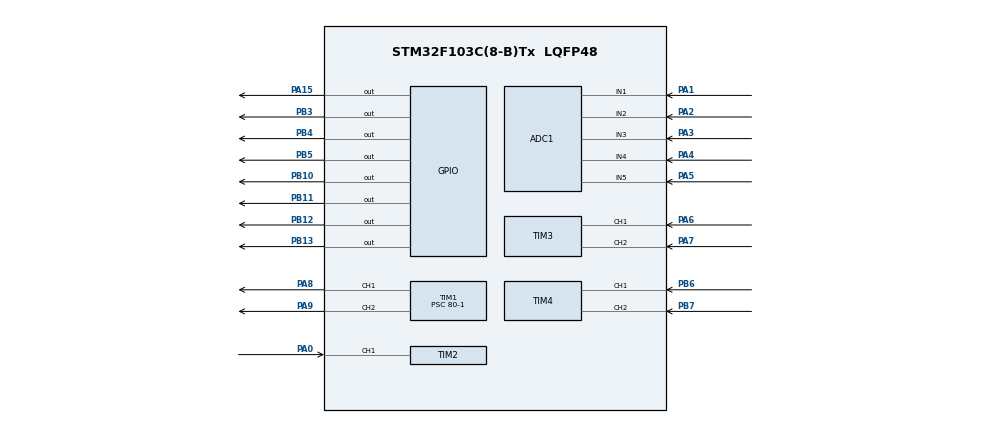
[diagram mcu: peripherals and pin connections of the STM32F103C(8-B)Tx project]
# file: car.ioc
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ADC1.Channel-0\#ChannelRegularConversion=ADC_CHANNEL_1
ADC1.Channel-1\#ChannelRegularConversion=ADC_CHANNEL_2
ADC1.Channel-2\#ChannelRegularConversion=ADC_CHANNEL_3
ADC1.Channel-3\#ChannelRegularConversion=ADC_CHANNEL_4
ADC1.Channel-4\#ChannelRegularConversion=ADC_CHANNEL_5
ADC1.ContinuousConvMode=DISABLE
ADC1.NbrOfConversion=5
ADC1.NbrOfConversionFlag=1
ADC1.Rank-0\#ChannelRegularConversion=1
ADC1.Rank-1\#ChannelRegularConversion=2
ADC1.Rank-2\#ChannelRegularConversion=3
ADC1.Rank-3\#ChannelRegularConversion=4
ADC1.Rank-4\#ChannelRegularConversion=5
ADC1.SamplingTime-0\#ChannelRegularConversion=ADC_SAMPLETIME_239CYCLES_5
ADC1.SamplingTime-1\#ChannelRegularConversion=ADC_SAMPLETIME_239CYCLES_5
ADC1.SamplingTime-2\#ChannelRegularConversion=ADC_SAMPLETIME_239CYCLES_5
ADC1.SamplingTime-3\#ChannelRegularConversion=ADC_SAMPLETIME_239CYCLES_5
ADC1.SamplingTime-4\#ChannelRegularConversion=ADC_SAMPLETIME_239CYCLES_5
ADC1.master=1
Dma.ADC1.0.Direction=DMA_PERIPH_TO_MEMORY
Dma.ADC1.0.Instance=DMA1_Channel1
Dma.ADC1.0.MemDataAlignment=DMA_MDATAALIGN_HALFWORD
Dma.ADC1.0.MemInc=DMA_MINC_ENABLE
Dma.ADC1.0.Mode=DMA_CIRCULAR
Dma.ADC1.0.PeriphDataAlignment=DMA_PDATAALIGN_HALFWORD
Dma.ADC1.0.PeriphInc=DMA_PINC_DISABLE
Dma.ADC1.0.Priority=DMA_PRIORITY_LOW
Dma.Request0=ADC1
Mcu.Family=STM32F1
Mcu.Name=STM32F103C(8-B)Tx
Mcu.Package=LQFP48
NVIC.ADC1_2_IRQn=true\:0\:0\:false\:false\:true\:true\:true\:true
NVIC.DMA1_Channel1_IRQn=true\:0\:0\:false\:false\:true\:false\:true\:true
NVIC.PriorityGroup=NVIC_PRIORITYGROUP_4
NVIC.TIM1_BRK_IRQn=true\:0\:0\:false\:false\:true\:true\:true\:true
NVIC.TIM1_CC_IRQn=true\:0\:0\:false\:false\:true\:true\:true\:true
NVIC.TIM1_TRG_COM_IRQn=true\:0\:0\:false\:false\:true\:true\:true\:true
NVIC.TIM1_UP_IRQn=true\:0\:0\:false\:false\:true\:true\:true\:true
NVIC.TIM2_IRQn=true\:0\:0\:false\:false\:true\:true\:true\:true
NVIC.TIM3_IRQn=true\:0\:0\:false\:false\:true\:true\:true\:true
NVIC.TIM4_IRQn=true\:0\:0\:false\:false\:true\:true\:true\:true
PA0-WKUP.Signal=S_TIM2_CH1_ETR
PA1.Signal=ADCx_IN1
PA13.Mode=Serial_Wire
PA13.Signal=SYS_JTMS-SWDIO
PA14.Mode=Serial_Wire
PA14.Signal=SYS_JTCK-SWCLK
PA15.Signal=GPIO_Output
PA2.Signal=ADCx_IN2
PA3.Signal=ADCx_IN3
PA4.Signal=ADCx_IN4
PA5.Signal=ADCx_IN5
PA6.Signal=S_TIM3_CH1
PA7.Signal=S_TIM3_CH2
PA8.Signal=S_TIM1_CH1
PA9.Signal=S_TIM1_CH2
PB10.Signal=GPIO_Output
PB11.Signal=GPIO_Output
PB12.Signal=GPIO_Output
PB13.Signal=GPIO_Output
PB3.Signal=GPIO_Output
PB4.Signal=GPIO_Output
PB5.Signal=GPIO_Output
PB6.Signal=S_TIM4_CH1
PB7.Signal=S_TIM4_CH2
PD0-OSC_IN.Mode=HSE-External-Oscillator
PD0-OSC_IN.Signal=RCC_OSC_IN
PD1-OSC_OUT.Mode=HSE-External-Oscillator
PD1-OSC_OUT.Signal=RCC_OSC_OUT
ProjectManager.HeapSize=0x200
ProjectManager.StackSize=0x400
ProjectManager.TargetToolchain=STM32CubeIDE
RCC.APB1Freq_Value=8000000
RCC.APB2Freq_Value=8000000
RCC.PLLSourceVirtual=RCC_PLLSOURCE_HSE
RCC.SYSCLKSource=RCC_SYSCLKSOURCE_HSE
RCC.USBFreq_Value=16000000
SH.ADCx_IN1.0=ADC1_IN1,IN1
SH.ADCx_IN2.0=ADC1_IN2,IN2
SH.ADCx_IN3.0=ADC1_IN3,IN3
SH.ADCx_IN4.0=ADC1_IN4,IN4
SH.ADCx_IN5.0=ADC1_IN5,IN5
SH.S_TIM1_CH1.0=TIM1_CH1,PWM Generation1 CH1
SH.S_TIM1_CH2.0=TIM1_CH2,PWM Generation2 CH2
SH.S_TIM2_CH1_ETR.0=TIM2_CH1,Input_Capture1_from_TI1
SH.S_TIM3_CH1.0=TIM3_CH1,Encoder_Interface
SH.S_TIM3_CH2.0=TIM3_CH2,Encoder_Interface
SH.S_TIM4_CH1.0=TIM4_CH1,Encoder_Interface
SH.S_TIM4_CH2.0=TIM4_CH2,Encoder_Interface
TIM1.AutoReloadPreload=TIM_AUTORELOAD_PRELOAD_ENABLE
TIM1.Channel-PWM\ Generation1\ CH1=TIM_CHANNEL_1
TIM1.Channel-PWM\ Generation2\ CH2=TIM_CHANNEL_2
TIM1.Period=200-1
TIM1.Prescaler=80-1
TIM1.Pulse-PWM\ Generation1\ CH1=250-1
TIM1.Pulse-PWM\ Generation2\ CH2=250-1
TIM2.AutoReloadPreload=TIM_AUTORELOAD_PRELOAD_DISABLE
TIM2.Channel-Input_Capture1_from_TI1=TIM_CHANNEL_1
TIM2.Period=65535
TIM2.Prescaler=8-1
TIM3.AutoReloadPreload=TIM_AUTORELOAD_PRELOAD_ENABLE
TIM3.EncoderMode=TIM_ENCODERMODE_TI12
TIM4.AutoReloadPreload=TIM_AUTORELOAD_PRELOAD_ENABLE
TIM4.EncoderMode=TIM_ENCODERMODE_TI12
VP_TIM1_VS_ClockSourceINT.Mode=Internal
VP_TIM2_VS_ClockSourceINT.Mode=Internal
board=custom

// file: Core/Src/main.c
/* USER CODE BEGIN Header */
/**
  ******************************************************************************
  * @file           : main.c
  * @brief          : Main program body
  ******************************************************************************
  * @attention
  *
  * Copyright (c) 2023 STMicroelectronics.
  * All rights reserved.
  *
  * This software is licensed under terms that can be found in the LICENSE file
  * in the root directory of this software component.
  * If no LICENSE file comes with this software, it is provided AS-IS.
  *
  ******************************************************************************
  */
/* USER CODE END Header */
#include "main.h"

/* USER CODE BEGIN Includes */
#include "motor.h"
#include "moving_average.h"
#include "math.h"
#include "line_sensor.h"
#include "color_sensor.h"
#include "control.h"
#include "pid_controller.h"
/* USER CODE END Includes */

ADC_HandleTypeDef hadc1;
DMA_HandleTypeDef hdma_adc1;

TIM_HandleTypeDef htim1;
TIM_HandleTypeDef htim2;
TIM_HandleTypeDef htim3;
TIM_HandleTypeDef htim4;

void SystemClock_Config(void);
static void MX_GPIO_Init(void);
static void MX_DMA_Init(void);
static void MX_TIM1_Init(void);
static void MX_ADC1_Init(void);
static void MX_TIM2_Init(void);
static void MX_TIM3_Init(void);
static void MX_TIM4_Init(void);

/* USER CODE BEGIN 0 */
FilterTypeDef filter_struct_1;
FilterTypeDef filter_struct_2;

enum ColorFilter f_red = F_RED;
enum ColorFilter f_green = F_GREEN;
enum ColorFilter f_blue = F_BLUE;

enum Color c_red = C_RED;
enum Color c_green = C_GREEN;
enum Color c_blue = C_BLUE;
enum Color c_none = C_NONE;

enum RobotState stop = STOP;
enum RobotState run = RUN;

motorParams_st motor_rw={
	.pulse_per_rev = 234,
	.ucount=0,
	.scount=0,
	.prev_time=0,
	.rpm=0,
	.pwm_channel = TIM_CHANNEL_2,
	.in1_pin = GPIO_PIN_12,
	.in2_pin = GPIO_PIN_13,
	.in_port = GPIOB,
	.htim = &htim1,
	.enc_htim = &htim3,
};

motorParams_st motor_lw ={
	.pulse_per_rev = 234,
	.ucount=0,
	.scount=0,
	.prev_time=0,
	.rpm=0,
	.pwm_channel = TIM_CHANNEL_1,
	.in1_pin = GPIO_PIN_10,
	.in2_pin = GPIO_PIN_11,
	.in_port = GPIOB,
	.htim = &htim1,
	.enc_htim = &htim4,
};

colorSensor_st color_sensor = {
	.in_pins[0] = GPIO_PIN_5,
	.in_pins[1] = GPIO_PIN_4,
	.in_pins[2] = GPIO_PIN_3,
	.in_pins[3] = GPIO_PIN_15,
	.out_pin = GPIO_PIN_0,
	.in_port_1 = GPIOB,
	.in_port_2 = GPIOA,
	.out_port = GPIOA,
	.tim_channel=TIM_CHANNEL_1,
	.rgb[0]=0,
	.rgb[1]=0,
	.rgb[2]=0,
	.color=C_NONE,
	.htim = &htim2
};
lineSensorParams_st line_sensor ={
	.in_pins[0] = GPIO_PIN_1,
	.in_pins[1] = GPIO_PIN_2,
	.in_pins[2] = GPIO_PIN_3,
	.in_pins[3] = GPIO_PIN_4,
	.in_pins[4] = GPIO_PIN_5,
	.in_port = GPIOA,
	.y_error = 0,
	.angle_error = 0,
	.angle_error_prev = 0,
	.sensor_values[0] = 0,
	.sensor_values[1] = 0,
	.sensor_values[2] = 0,
	.sensor_values[3] = 0,
	.sensor_values[4] = 0,
	.adc_values[0] = 0,
	.adc_values[1] = 0,
	.adc_values[2] = 0,
	.adc_values[3] = 0,
	.adc_values[4] = 0,
	.time = 0,
	.time_prev = 0,
};

PIDControl pid_lw = {
.alteredKp = 1,
.alteredKi = 0,
.alteredKd = 0,
.outMin = 10,
.outMax = 100,
.setpoint = 150,
.controllerDirection = DIRECT,
.mode = AUTOMATIC,
.input = 0,
.lastInput = 0,
.iTerm=0,
};
PIDControl pid_rw = {
.alteredKp = 1,
.alteredKi = 0,
.alteredKd = 0,
.outMin = 10,
.outMax = 100,
.setpoint = 150,
.controllerDirection = DIRECT,
.mode = AUTOMATIC,
.input = 0,
.lastInput = 0,
.iTerm=0,
};

control_st control_p ={
	.k1 = 0,
	.k2 = 0.2,
	.k3 = 0.08,
	.branch = EMPTY,
	.stopTime = 0,
	.state = RUN
};

	PIDControl* ps[] = {&pid_lw, &pid_rw};
	motorParams_st* mtrs[] = {&motor_lw, &motor_rw};
	uint16_t v1,v2;
	uint16_t diff= 0;
	int8_t first_capture=0;
	uint8_t timer_overflow=0;
	uint16_t frequency;
	float refClock = 8e6/8;

void HAL_TIM_PeriodElapsedCallback(TIM_HandleTypeDef *htim){
	UNUSED(htim);
	if(htim->Instance == htim1.Instance){
		timer_overflow++;
		if(timer_overflow == 12){ //24ms
			motor_readEncoder(&motor_rw);
			motor_readEncoder(&motor_lw);
//			HAL_GPIO_TogglePin(GPIOC, GPIO_PIN_13);
			motor_calculateRPM(&motor_rw, 1);
			motor_calculateRPM(&motor_lw, 1);
			motor_rw.rpm = Moving_Average_Compute(motor_rw.rpm, &filter_struct_1);
			motor_lw.rpm = Moving_Average_Compute(motor_lw.rpm, &filter_struct_2);

			linesensor_read(&line_sensor);
			control_lineTracking(&control_p, ps, mtrs, &line_sensor,&color_sensor);
//			pid_lw.setpoint = 100;
//			pid_rw.setpoint = 100;
//			pid_lw.input = motor_lw.rpm;
//			pid_rw.input = motor_rw.rpm;
//
//			PIDCompute(&pid_lw);
//			PIDCompute(&pid_rw);
//
//			motor_setMotorPWM(&motor_lw, pid_lw.output);
//			motor_setMotorPWM(&motor_rw, pid_rw.output);

			timer_overflow = 0;
		}
	}
}

void HAL_TIM_IC_CaptureCallback(TIM_HandleTypeDef* htim){
	if (htim->Instance == htim2.Instance && htim->Channel == HAL_TIM_ACTIVE_CHANNEL_1){
		//Check Green
		if (first_capture==0)
			{
				v1 = HAL_TIM_ReadCapturedValue(&htim2, TIM_CHANNEL_1);
				first_capture = 1;
			} else if (first_capture==1){
				v2 = HAL_TIM_ReadCapturedValue(&htim2, TIM_CHANNEL_1);
			if (v2 > v1){
				diff = v2-v1;
			}else if (v1 > v2){
				diff = (65535 - v1) + v2;
			}

			frequency = refClock/diff;
			first_capture= 0;
			__HAL_TIM_SET_COUNTER(&htim2, 0);
			}
	}
}
/* USER CODE END 0 */

int main(void)
{

  /* MCU Configuration--------------------------------------------------------*/

  /* Reset of all peripherals, Initializes the Flash interface and the Systick. */
  HAL_Init();

  /* Configure the system clock */
  SystemClock_Config();

  /* Initialize all configured peripherals */
  MX_GPIO_Init();
  MX_DMA_Init();
  MX_TIM1_Init();
  MX_ADC1_Init();
  MX_TIM2_Init();
  MX_TIM3_Init();
  MX_TIM4_Init();
  /* USER CODE BEGIN 2 */
  HAL_TIM_Base_Start_IT(&htim1);
//  HAL_TIM_IC_Start_IT(&htim2, TIM_CHANNEL_1);

  HAL_TIM_Encoder_Start_IT(&htim3, TIM_CHANNEL_ALL);
  HAL_TIM_Encoder_Start_IT(&htim4, TIM_CHANNEL_ALL);
  Moving_Average_Init(&filter_struct_1);
  Moving_Average_Init(&filter_struct_2);

  motor_init(&motor_rw);
  motor_init(&motor_lw);
  color_sensor_init(&color_sensor);

  line_sensor.hadc = &hadc1;
  color_sensor.htim = &htim2;

//  PIDInit(&pid_lw,1.8,0.8,0.1,0.024,10,100,AUTOMATIC,DIRECT);
  PIDInit(&pid_lw,1.3,0.35,0.08,0.024,10,100,AUTOMATIC,DIRECT);
  PIDInit(&pid_rw,1.3,0.35,0.08,0.024,10,100,AUTOMATIC,DIRECT); // NEED TUNING

  motor_setMotorPWM(&motor_rw, 0);
  motor_setMotorPWM(&motor_lw, 0);

  /* USER CODE END 2 */

  /* Infinite loop */
  while (1)
  {
	  if (control_p.state == STOP && control_p.stopTime == 0){
////		  HAL_TIM_PWM_Stop(&htim1, TIM_CHANNEL_1 | TIM_CHANNEL_2);
		  for(int i =0;i<3;i++){
				  switch(i){
					  case 0:
						  colorsensor_setFilter(&color_sensor, f_red);
						  HAL_Delay(2);
						  color_sensor.rgb[0] = frequency;
						  break;
					  case 1:
						  colorsensor_setFilter(&color_sensor, f_green);
						  HAL_Delay(2);
						  color_sensor.rgb[1] = frequency;
						  break;
					  case 2:
						  colorsensor_setFilter(&color_sensor, f_blue);
						  HAL_Delay(2);
						  color_sensor.rgb[2] = frequency;
						  break;
				  }
			  }
		  colorsensor_detectColor(&color_sensor);
	  }
//    /* USER CODE BEGIN 3 */
  }
  /* USER CODE END 3 */
}

void SystemClock_Config(void)
{
  RCC_OscInitTypeDef RCC_OscInitStruct = {0};
  RCC_ClkInitTypeDef RCC_ClkInitStruct = {0};
  RCC_PeriphCLKInitTypeDef PeriphClkInit = {0};

  /** Initializes the RCC Oscillators according to the specified parameters
  * in the RCC_OscInitTypeDef structure.
  */
  RCC_OscInitStruct.OscillatorType = RCC_OSCILLATORTYPE_HSE;
  RCC_OscInitStruct.HSEState = RCC_HSE_ON;
  RCC_OscInitStruct.PLL.PLLState = RCC_PLL_NONE;
  if (HAL_RCC_OscConfig(&RCC_OscInitStruct) != HAL_OK)
  {
    Error_Handler();
  }

  /** Initializes the CPU, AHB and APB buses clocks
  */
  RCC_ClkInitStruct.ClockType = RCC_CLOCKTYPE_HCLK|RCC_CLOCKTYPE_SYSCLK
                              |RCC_CLOCKTYPE_PCLK1|RCC_CLOCKTYPE_PCLK2;
  RCC_ClkInitStruct.SYSCLKSource = RCC_SYSCLKSOURCE_HSE;
  RCC_ClkInitStruct.AHBCLKDivider = RCC_SYSCLK_DIV1;
  RCC_ClkInitStruct.APB1CLKDivider = RCC_HCLK_DIV1;
  RCC_ClkInitStruct.APB2CLKDivider = RCC_HCLK_DIV1;

  if (HAL_RCC_ClockConfig(&RCC_ClkInitStruct, FLASH_LATENCY_0) != HAL_OK)
  {
    Error_Handler();
  }
  PeriphClkInit.PeriphClockSelection = RCC_PERIPHCLK_ADC;
  PeriphClkInit.AdcClockSelection = RCC_ADCPCLK2_DIV2;
  if (HAL_RCCEx_PeriphCLKConfig(&PeriphClkInit) != HAL_OK)
  {
    Error_Handler();
  }
}

static void MX_ADC1_Init(void)
{

  ADC_ChannelConfTypeDef sConfig = {0};

  /** Common config
  */
  hadc1.Instance = ADC1;
  hadc1.Init.ScanConvMode = ADC_SCAN_ENABLE;
  hadc1.Init.ContinuousConvMode = DISABLE;
  hadc1.Init.DiscontinuousConvMode = DISABLE;
  hadc1.Init.ExternalTrigConv = ADC_SOFTWARE_START;
  hadc1.Init.DataAlign = ADC_DATAALIGN_RIGHT;
  hadc1.Init.NbrOfConversion = 5;
  if (HAL_ADC_Init(&hadc1) != HAL_OK)
  {
    Error_Handler();
  }

  /** Configure Regular Channel
  */
  sConfig.Channel = ADC_CHANNEL_1;
  sConfig.Rank = ADC_REGULAR_RANK_1;
  sConfig.SamplingTime = ADC_SAMPLETIME_239CYCLES_5;
  if (HAL_ADC_ConfigChannel(&hadc1, &sConfig) != HAL_OK)
  {
    Error_Handler();
  }

  /** Configure Regular Channel
  */
  sConfig.Channel = ADC_CHANNEL_2;
  sConfig.Rank = ADC_REGULAR_RANK_2;
  if (HAL_ADC_ConfigChannel(&hadc1, &sConfig) != HAL_OK)
  {
    Error_Handler();
  }

  /** Configure Regular Channel
  */
  sConfig.Channel = ADC_CHANNEL_3;
  sConfig.Rank = ADC_REGULAR_RANK_3;
  if (HAL_ADC_ConfigChannel(&hadc1, &sConfig) != HAL_OK)
  {
    Error_Handler();
  }

  /** Configure Regular Channel
  */
  sConfig.Channel = ADC_CHANNEL_4;
  sConfig.Rank = ADC_REGULAR_RANK_4;
  if (HAL_ADC_ConfigChannel(&hadc1, &sConfig) != HAL_OK)
  {
    Error_Handler();
  }

  /** Configure Regular Channel
  */
  sConfig.Channel = ADC_CHANNEL_5;
  sConfig.Rank = ADC_REGULAR_RANK_5;
  if (HAL_ADC_ConfigChannel(&hadc1, &sConfig) != HAL_OK)
  {
    Error_Handler();
  }

}

static void MX_TIM1_Init(void)
{

  TIM_ClockConfigTypeDef sClockSourceConfig = {0};
  TIM_MasterConfigTypeDef sMasterConfig = {0};
  TIM_OC_InitTypeDef sConfigOC = {0};
  TIM_BreakDeadTimeConfigTypeDef sBreakDeadTimeConfig = {0};

  htim1.Instance = TIM1;
  htim1.Init.Prescaler = 80-1;
  htim1.Init.CounterMode = TIM_COUNTERMODE_UP;
  htim1.Init.Period = 200-1;
  htim1.Init.ClockDivision = TIM_CLOCKDIVISION_DIV1;
  htim1.Init.RepetitionCounter = 0;
  htim1.Init.AutoReloadPreload = TIM_AUTORELOAD_PRELOAD_ENABLE;
  if (HAL_TIM_Base_Init(&htim1) != HAL_OK)
  {
    Error_Handler();
  }
  sClockSourceConfig.ClockSource = TIM_CLOCKSOURCE_INTERNAL;
  if (HAL_TIM_ConfigClockSource(&htim1, &sClockSourceConfig) != HAL_OK)
  {
    Error_Handler();
  }
  if (HAL_TIM_PWM_Init(&htim1) != HAL_OK)
  {
    Error_Handler();
  }
  sMasterConfig.MasterOutputTrigger = TIM_TRGO_RESET;
  sMasterConfig.MasterSlaveMode = TIM_MASTERSLAVEMODE_DISABLE;
  if (HAL_TIMEx_MasterConfigSynchronization(&htim1, &sMasterConfig) != HAL_OK)
  {
    Error_Handler();
  }
  sConfigOC.OCMode = TIM_OCMODE_PWM1;
  sConfigOC.Pulse = 250-1;
  sConfigOC.OCPolarity = TIM_OCPOLARITY_HIGH;
  sConfigOC.OCNPolarity = TIM_OCNPOLARITY_HIGH;
  sConfigOC.OCFastMode = TIM_OCFAST_DISABLE;
  sConfigOC.OCIdleState = TIM_OCIDLESTATE_RESET;
  sConfigOC.OCNIdleState = TIM_OCNIDLESTATE_RESET;
  if (HAL_TIM_PWM_ConfigChannel(&htim1, &sConfigOC, TIM_CHANNEL_1) != HAL_OK)
  {
    Error_Handler();
  }
  if (HAL_TIM_PWM_ConfigChannel(&htim1, &sConfigOC, TIM_CHANNEL_2) != HAL_OK)
  {
    Error_Handler();
  }
  sBreakDeadTimeConfig.OffStateRunMode = TIM_OSSR_DISABLE;
  sBreakDeadTimeConfig.OffStateIDLEMode = TIM_OSSI_DISABLE;
  sBreakDeadTimeConfig.LockLevel = TIM_LOCKLEVEL_OFF;
  sBreakDeadTimeConfig.DeadTime = 0;
  sBreakDeadTimeConfig.BreakState = TIM_BREAK_DISABLE;
  sBreakDeadTimeConfig.BreakPolarity = TIM_BREAKPOLARITY_HIGH;
  sBreakDeadTimeConfig.AutomaticOutput = TIM_AUTOMATICOUTPUT_DISABLE;
  if (HAL_TIMEx_ConfigBreakDeadTime(&htim1, &sBreakDeadTimeConfig) != HAL_OK)
  {
    Error_Handler();
  }
  HAL_TIM_MspPostInit(&htim1);

}

static void MX_TIM2_Init(void)
{

  TIM_ClockConfigTypeDef sClockSourceConfig = {0};
  TIM_MasterConfigTypeDef sMasterConfig = {0};
  TIM_IC_InitTypeDef sConfigIC = {0};

  htim2.Instance = TIM2;
  htim2.Init.Prescaler = 8-1;
  htim2.Init.CounterMode = TIM_COUNTERMODE_UP;
  htim2.Init.Period = 65535;
  htim2.Init.ClockDivision = TIM_CLOCKDIVISION_DIV1;
  htim2.Init.AutoReloadPreload = TIM_AUTORELOAD_PRELOAD_DISABLE;
  if (HAL_TIM_Base_Init(&htim2) != HAL_OK)
  {
    Error_Handler();
  }
  sClockSourceConfig.ClockSource = TIM_CLOCKSOURCE_INTERNAL;
  if (HAL_TIM_ConfigClockSource(&htim2, &sClockSourceConfig) != HAL_OK)
  {
    Error_Handler();
  }
  if (HAL_TIM_IC_Init(&htim2) != HAL_OK)
  {
    Error_Handler();
  }
  sMasterConfig.MasterOutputTrigger = TIM_TRGO_RESET;
  sMasterConfig.MasterSlaveMode = TIM_MASTERSLAVEMODE_DISABLE;
  if (HAL_TIMEx_MasterConfigSynchronization(&htim2, &sMasterConfig) != HAL_OK)
  {
    Error_Handler();
  }
  sConfigIC.ICPolarity = TIM_INPUTCHANNELPOLARITY_RISING;
  sConfigIC.ICSelection = TIM_ICSELECTION_DIRECTTI;
  sConfigIC.ICPrescaler = TIM_ICPSC_DIV1;
  sConfigIC.ICFilter = 0;
  if (HAL_TIM_IC_ConfigChannel(&htim2, &sConfigIC, TIM_CHANNEL_1) != HAL_OK)
  {
    Error_Handler();
  }

}

static void MX_TIM3_Init(void)
{

  TIM_Encoder_InitTypeDef sConfig = {0};
  TIM_MasterConfigTypeDef sMasterConfig = {0};

  htim3.Instance = TIM3;
  htim3.Init.Prescaler = 0;
  htim3.Init.CounterMode = TIM_COUNTERMODE_UP;
  htim3.Init.Period = 65535;
  htim3.Init.ClockDivision = TIM_CLOCKDIVISION_DIV1;
  htim3.Init.AutoReloadPreload = TIM_AUTORELOAD_PRELOAD_ENABLE;
  sConfig.EncoderMode = TIM_ENCODERMODE_TI12;
  sConfig.IC1Polarity = TIM_ICPOLARITY_RISING;
  sConfig.IC1Selection = TIM_ICSELECTION_DIRECTTI;
  sConfig.IC1Prescaler = TIM_ICPSC_DIV1;
  sConfig.IC1Filter = 0;
  sConfig.IC2Polarity = TIM_ICPOLARITY_RISING;
  sConfig.IC2Selection = TIM_ICSELECTION_DIRECTTI;
  sConfig.IC2Prescaler = TIM_ICPSC_DIV1;
  sConfig.IC2Filter = 0;
  if (HAL_TIM_Encoder_Init(&htim3, &sConfig) != HAL_OK)
  {
    Error_Handler();
  }
  sMasterConfig.MasterOutputTrigger = TIM_TRGO_RESET;
  sMasterConfig.MasterSlaveMode = TIM_MASTERSLAVEMODE_DISABLE;
  if (HAL_TIMEx_MasterConfigSynchronization(&htim3, &sMasterConfig) != HAL_OK)
  {
    Error_Handler();
  }

}

static void MX_TIM4_Init(void)
{

  TIM_Encoder_InitTypeDef sConfig = {0};
  TIM_MasterConfigTypeDef sMasterConfig = {0};

  htim4.Instance = TIM4;
  htim4.Init.Prescaler = 0;
  htim4.Init.CounterMode = TIM_COUNTERMODE_UP;
  htim4.Init.Period = 65535;
  htim4.Init.ClockDivision = TIM_CLOCKDIVISION_DIV1;
  htim4.Init.AutoReloadPreload = TIM_AUTORELOAD_PRELOAD_ENABLE;
  sConfig.EncoderMode = TIM_ENCODERMODE_TI12;
  sConfig.IC1Polarity = TIM_ICPOLARITY_RISING;
  sConfig.IC1Selection = TIM_ICSELECTION_DIRECTTI;
  sConfig.IC1Prescaler = TIM_ICPSC_DIV1;
  sConfig.IC1Filter = 0;
  sConfig.IC2Polarity = TIM_ICPOLARITY_RISING;
  sConfig.IC2Selection = TIM_ICSELECTION_DIRECTTI;
  sConfig.IC2Prescaler = TIM_ICPSC_DIV1;
  sConfig.IC2Filter = 0;
  if (HAL_TIM_Encoder_Init(&htim4, &sConfig) != HAL_OK)
  {
    Error_Handler();
  }
  sMasterConfig.MasterOutputTrigger = TIM_TRGO_RESET;
  sMasterConfig.MasterSlaveMode = TIM_MASTERSLAVEMODE_DISABLE;
  if (HAL_TIMEx_MasterConfigSynchronization(&htim4, &sMasterConfig) != HAL_OK)
  {
    Error_Handler();
  }

}

static void MX_DMA_Init(void)
{

  /* DMA controller clock enable */
  __HAL_RCC_DMA1_CLK_ENABLE();

  /* DMA interrupt init */
  /* DMA1_Channel1_IRQn interrupt configuration */
  HAL_NVIC_SetPriority(DMA1_Channel1_IRQn, 0, 0);
  HAL_NVIC_EnableIRQ(DMA1_Channel1_IRQn);

}

static void MX_GPIO_Init(void)
{
  GPIO_InitTypeDef GPIO_InitStruct = {0};

  /* GPIO Ports Clock Enable */
  __HAL_RCC_GPIOD_CLK_ENABLE();
  __HAL_RCC_GPIOA_CLK_ENABLE();
  __HAL_RCC_GPIOB_CLK_ENABLE();

  /*Configure GPIO pin Output Level */
  HAL_GPIO_WritePin(GPIOB, GPIO_PIN_10|GPIO_PIN_11|GPIO_PIN_12|GPIO_PIN_13
                          |GPIO_PIN_3|GPIO_PIN_4|GPIO_PIN_5, GPIO_PIN_RESET);

  /*Configure GPIO pin Output Level */
  HAL_GPIO_WritePin(GPIOA, GPIO_PIN_15, GPIO_PIN_RESET);

  /*Configure GPIO pins : PB10 PB11 PB12 PB13
                           PB3 PB4 PB5 */
  GPIO_InitStruct.Pin = GPIO_PIN_10|GPIO_PIN_11|GPIO_PIN_12|GPIO_PIN_13
                          |GPIO_PIN_3|GPIO_PIN_4|GPIO_PIN_5;
  GPIO_InitStruct.Mode = GPIO_MODE_OUTPUT_PP;
  GPIO_InitStruct.Pull = GPIO_NOPULL;
  GPIO_InitStruct.Speed = GPIO_SPEED_FREQ_LOW;
  HAL_GPIO_Init(GPIOB, &GPIO_InitStruct);

  /*Configure GPIO pin : PA15 */
  GPIO_InitStruct.Pin = GPIO_PIN_15;
  GPIO_InitStruct.Mode = GPIO_MODE_OUTPUT_PP;
  GPIO_InitStruct.Pull = GPIO_NOPULL;
  GPIO_InitStruct.Speed = GPIO_SPEED_FREQ_LOW;
  HAL_GPIO_Init(GPIOA, &GPIO_InitStruct);

}

void Error_Handler(void)
{
  __disable_irq();
  while (1)
  {
  }
}
